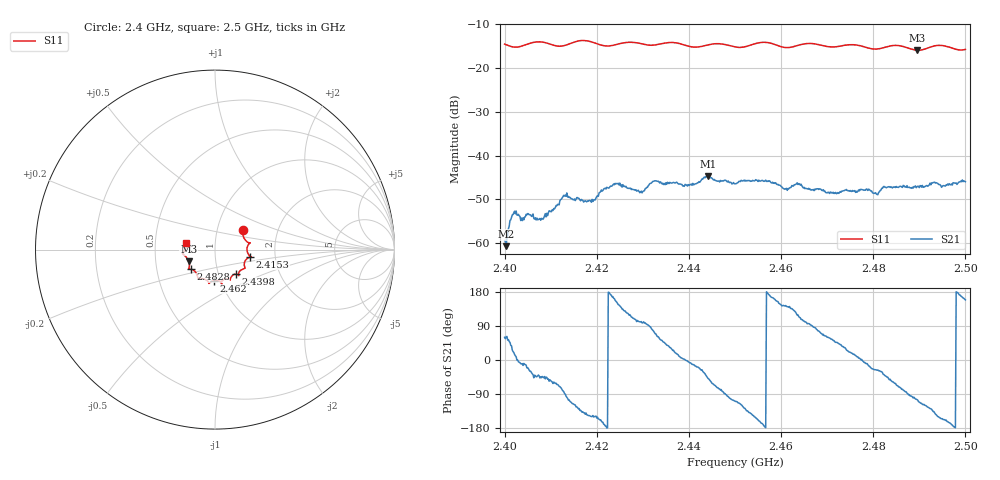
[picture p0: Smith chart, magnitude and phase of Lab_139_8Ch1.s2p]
# Hz S RI R 50
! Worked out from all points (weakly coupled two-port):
!   601 points, 2.4 GHz to 2.5 GHz, reference 50 ohm
!   highest |S21| = -44.71 dB at 2.4442 GHz (marker M1); lowest = -60.8 dB at 2.4003 GHz (marker M2)
!   lowest |S11| = -15.9 dB at 2.4895 GHz (marker M3), VSWR 1.38, Z = 37 - j5.01 ohm
!   |S11| at or under -10 dB: start of sweep to end of sweep
!   S12 and S22 are empty: the file has one direction only
!   S11 on the Smith chart (normalised r, x): 2.4 GHz: 1.33, +0.29; 2.4153 GHz: 1.48, -0.12; 2.4398 GHz: 1.21, -0.34; 2.462 GHz: 0.93, -0.33; 2.4828 GHz: 0.74, -0.17; 2.5 GHz: 0.72, +0.06
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2.4e9  0.155 0.1066  0.000531 0.000918  0 0  0 0
2.400333e9  0.1547 0.1019  0.000444 0.000803  0 0  0 0
2.402e9  0.1575 0.0742  0.00209 0.000748  0 0  0 0
2.407833e9  0.1959 0.0377  0.00129 -0.00127  0 0  0 0
2.413e9  0.1808 -0.0145  0.0001 -0.00343  0 0  0 0
2.415333e9  0.1964 -0.0388  -0.00146 -0.00268  0 0  0 0
2.416667e9  0.2024 -0.0429  -0.00222 -0.00222  0 0  0 0
2.419167e9  0.1928 -0.0422  -0.00248 -0.00164  0 0  0 0
2.424167e9  0.163 -0.0889  -0.0043 0.00203  0 0  0 0
2.429667e9  0.1567 -0.108  -0.000769 0.00383  0 0  0 0
2.433333e9  0.1309 -0.1339  0.00243 0.00447  0 0  0 0
2.439833e9  0.1155 -0.1362  0.00464 -0.000366  0 0  0 0
2.444167e9  0.0852 -0.1641  0.00383 -0.00438  0 0  0 0
2.45e9  0.0652 -0.1624  -0.00151 -0.00449  0 0  0 0
2.457e9  0.0392 -0.1923  -0.00504 0.000217  0 0  0 0
2.462e9  -0.00511 -0.1728  -0.00314 0.00292  0 0  0 0
2.466667e9  -0.0343 -0.1881  -6.35e-05 0.00406  0 0  0 0
2.4805e9  -0.1143 -0.1192  0.00338 -0.00162  0 0  0 0
2.482833e9  -0.1365 -0.1091  0.00311 -0.00294  0 0  0 0
2.483333e9  -0.1404 -0.1089  0.00285 -0.00334  0 0  0 0
2.4895e9  -0.1457 -0.066  -0.0011 -0.00424  0 0  0 0
2.5e9  -0.1593 0.039  -0.00467 0.00183  0 0  0 0
